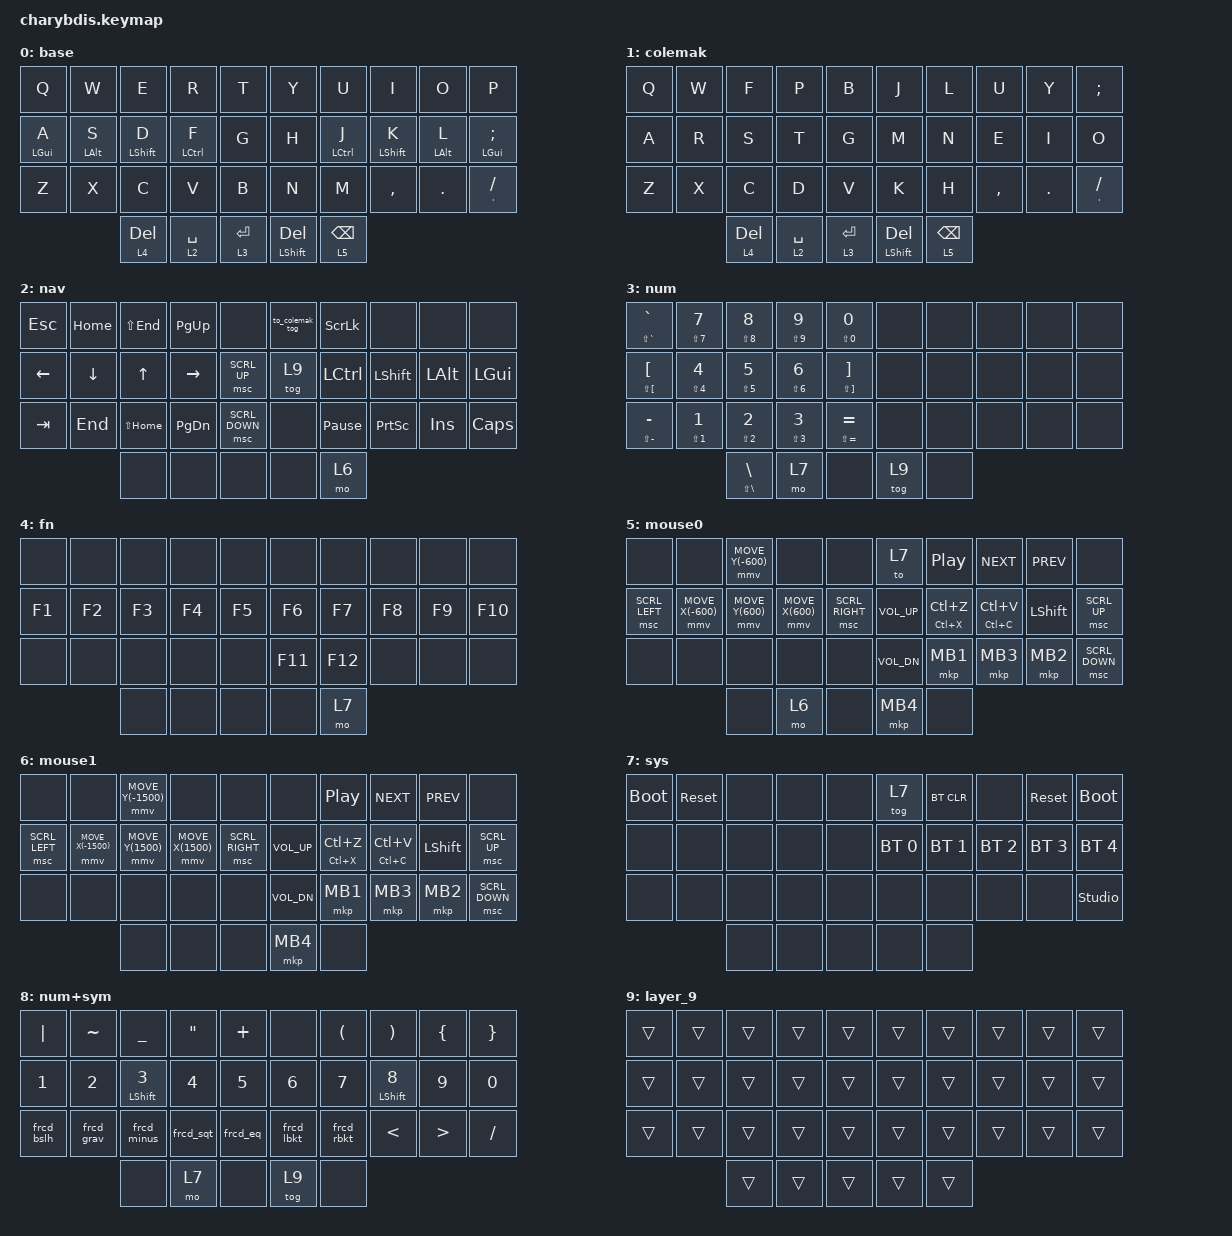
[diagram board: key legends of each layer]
#define ZMK_POINTING_DEFAULT_MOVE_VAL 1500  // 기본값: 600

#include <behaviors.dtsi>
#include <dt-bindings/zmk/bt.h>
#include <dt-bindings/zmk/keys.h>
#include <dt-bindings/zmk/pointing.h>

&lt {
    tapping-term-ms = <200>;
    flavor = "balanced";
    quick-tap-ms = <200>;
};

&mt { quick-tap-ms = <200>; };

&mmv {
    acceleration-exponent = <0>;
    delay-ms = <0>;
};

/ {
    combos {
        compatible = "zmk,combos";

        Language_Change_combo0 {
            bindings = <&kp RALT>;
            key-positions = <11 13>;
            layers = <0 1>;
        };

        Language_Change_combo1 {
            bindings = <&kp RALT>;
            key-positions = <16 18>;
            layers = <0 1>;
        };
    };

    macros {
        to_colemak_tog: to_colemak_tog {
            compatible = "zmk,behavior-macro";
            #binding-cells = <0>;
            bindings = <&kp RALT &tog 1>;
        };
    };

    behaviors {
        ht_sft: hold_tap_shift {
            compatible = "zmk,behavior-hold-tap";
            label = "HOLD_TAP_SHIFT";
            bindings = <&kp>, <&kp>;

            #binding-cells = <2>;
            tapping-term-ms = <200>;
            quick-tap-ms = <200>;
            require-prior-idle-ms = <130>;
            flavor = "tap-preferred";
        };

        hrm_l: home_row_mod_left {
            compatible = "zmk,behavior-hold-tap";
            #binding-cells = <2>;
            flavor = "balanced";
            tapping-term-ms = <280>;
            quick-tap-ms = <175>;
            require-prior-idle-ms = <170>;
            bindings = <&kp>, <&kp>;

            hold-trigger-key-positions = <5 6 7 8 9 15 16 17 18 19 25 26 27 28 29 33 34>;
            hold-trigger-on-release;
            label = "home_row_mod_left";
        };

        hrm_r: home_row_mod_right {
            compatible = "zmk,behavior-hold-tap";
            #binding-cells = <2>;
            flavor = "balanced";
            tapping-term-ms = <280>;
            quick-tap-ms = <175>;
            require-prior-idle-ms = <170>;
            bindings = <&kp>, <&kp>;

            hold-trigger-key-positions = <0 1 2 3 4 10 11 12 13 14 20 21 22 23 24 30 31 32>;
            hold-trigger-on-release;
            label = "home_row_mod_right";
        };

        frcd_eq: forced_equal {
            compatible = "zmk,behavior-mod-morph";
            #binding-cells = <0>;
            bindings = <&kp EQUAL>, <&kp EQUAL>;

            mods = <(MOD_LSFT|MOD_RSFT)>;
            label = "FORCED_EQUAL";
        };

        frcd_bslh: forced_backslash {
            compatible = "zmk,behavior-mod-morph";
            #binding-cells = <0>;
            bindings = <&kp BSLH>, <&kp BSLH>;

            mods = <(MOD_LSFT|MOD_RSFT)>;
            label = "FORCED_BSLH";
        };

        frcd_grav: forced_grave {
            compatible = "zmk,behavior-mod-morph";
            #binding-cells = <0>;
            bindings = <&kp GRAVE>, <&kp GRAVE>;

            mods = <(MOD_LSFT|MOD_RSFT)>;
            label = "FORCED_GRAVE";
        };

        frcd_minus: forced_minus {
            compatible = "zmk,behavior-mod-morph";
            #binding-cells = <0>;
            bindings = <&kp MINUS>, <&kp MINUS>;

            mods = <(MOD_LSFT|MOD_RSFT)>;
            label = "FORCED_MINUS";
        };

        frcd_sqt: forced_single_quote {
            compatible = "zmk,behavior-mod-morph";
            #binding-cells = <0>;
            bindings = <&kp SQT>, <&kp SQT>;

            mods = <(MOD_LSFT|MOD_RSFT)>;
            label = "FORCED_SQT";
        };

        frcd_lbkt: forced_left_bracket {
            compatible = "zmk,behavior-mod-morph";
            #binding-cells = <0>;
            bindings = <&kp LBKT>, <&kp LBKT>;

            mods = <(MOD_LSFT|MOD_RSFT)>;
            label = "FORCED_LBKT";
        };

        frcd_rbkt: forced_right_bracket {
            compatible = "zmk,behavior-mod-morph";
            #binding-cells = <0>;
            bindings = <&kp RBKT>, <&kp RBKT>;

            mods = <(MOD_LSFT|MOD_RSFT)>;
            label = "FORCED_RBKT";
        };

        hrm_r_sft: home_row_mod_shift {
            compatible = "zmk,behavior-hold-tap";
            #binding-cells = <2>;
            flavor = "balanced";
            tapping-term-ms = <280>;
            quick-tap-ms = <175>;
            bindings = <&kp>, <&kp>;

            hold-trigger-key-positions = <0 1 2 3 4 10 11 12 13 14 20 21 22 23 24 32 31 5 6 7 8 9 15 16 17 18 19 25 26 27 28 29>;
            label = "HOME_ROW_MOD_SHIFT";
        };
    };

    keymap {
        compatible = "zmk,keymap";

        base {
            bindings = <
&kp Q          &kp W          &kp E           &kp R           &kp T          &kp Y          &kp U           &kp I           &kp O          &kp P
&hrm_l LGUI A  &hrm_l LALT S  &hrm_l LSHFT D  &hrm_l LCTRL F  &kp G          &kp H          &hrm_r LCTRL J  &hrm_r LSHFT K  &hrm_r LALT L  &hrm_r LGUI SEMICOLON
&kp Z          &kp X          &kp C           &kp V           &kp B          &kp N          &kp M           &kp COMMA       &kp DOT        &mt SINGLE_QUOTE FSLH
                              &lt 4 DEL       &lt 2 SPACE     &lt 3 ENTER    &mt LSHFT DEL  &lt 5 BSPC
            >;
        };

        colemak {
            bindings = <
&kp Q  &kp W  &kp F      &kp P        &kp B          &kp J          &kp L       &kp U      &kp Y    &kp SEMI
&kp A  &kp R  &kp S      &kp T        &kp G          &kp M          &kp N       &kp E      &kp I    &kp O
&kp Z  &kp X  &kp C      &kp D        &kp V          &kp K          &kp H       &kp COMMA  &kp DOT  &mt SQT FSLH
              &lt 4 DEL  &lt 2 SPACE  &lt 3 ENTER    &mt LSHFT DEL  &lt 5 BSPC
            >;
        };

        nav {
            bindings = <
&kp ESC         &kp HOME        &kp LS(END)   &kp PAGE_UP      &none             &to_colemak_tog  &kp SLCK         &none      &none     &none
&kp LEFT_ARROW  &kp DOWN_ARROW  &kp UP_ARROW  &kp RIGHT_ARROW  &msc SCRL_UP      &tog 9           &kp LCTRL        &kp LSHFT  &kp LALT  &kp LGUI
&kp TAB         &kp END         &kp LS(HOME)  &kp PAGE_DOWN    &msc SCRL_DOWN    &none            &kp PAUSE_BREAK  &kp PSCRN  &kp INS   &kp CAPS
                                &none         &none            &none             &none            &mo 6
            >;
        };

        num {
            bindings = <
&ht_sft LS(GRAVE) GRAVE                &ht_sft LS(N7) N7  &ht_sft LS(N8) N8      &ht_sft LS(N9) N9  &ht_sft LS(N0) N0                          &none   &none  &none  &none  &none
&ht_sft LS(LEFT_BRACKET) LEFT_BRACKET  &ht_sft LS(N4) N4  &ht_sft LS(N5) N5      &ht_sft LS(N6) N6  &ht_sft LS(RIGHT_BRACKET) RIGHT_BRACKET    &none   &none  &none  &none  &none
&ht_sft LS(MINUS) MINUS                &ht_sft LS(N1) N1  &ht_sft LS(N2) N2      &ht_sft LS(N3) N3  &ht_sft LS(EQUAL) EQUAL                    &none   &none  &none  &none  &none
                                                          &ht_sft LS(BSLH) BSLH  &mo 7              &none                                      &tog 9  &none
            >;
        };

        fn {
            bindings = <
&none   &none   &none   &none   &none     &none    &none    &none   &none   &none
&kp F1  &kp F2  &kp F3  &kp F4  &kp F5    &kp F6   &kp F7   &kp F8  &kp F9  &kp F10
&none   &none   &none   &none   &none     &kp F11  &kp F12  &none   &none   &none
                &none   &none   &none     &none    &mo 7
            >;
        };

        mouse0 {
            bindings = <
&none           &none              &mmv MOVE_Y(-600)  &none             &none              &to 7         &kp C_PLAY_PAUSE  &kp C_NEXT       &kp C_PREV  &none
&msc SCRL_LEFT  &mmv MOVE_X(-600)  &mmv MOVE_Y(600)   &mmv MOVE_X(600)  &msc SCRL_RIGHT    &kp C_VOL_UP  &mt LC(X) LC(Z)   &mt LC(C) LC(V)  &kp LSHFT   &msc SCRL_UP
&none           &none              &none              &none             &none              &kp C_VOL_DN  &mkp MB1          &mkp MB3         &mkp MB2    &msc SCRL_DOWN
                                   &none              &mo 6             &none              &mkp MB4      &none
            >;
        };

        mouse1 {
            bindings = <
&none           &none               &mmv MOVE_Y(-1500)  &none              &none              &none         &kp C_PLAY_PAUSE  &kp C_NEXT       &kp C_PREV  &none
&msc SCRL_LEFT  &mmv MOVE_X(-1500)  &mmv MOVE_Y(1500)   &mmv MOVE_X(1500)  &msc SCRL_RIGHT    &kp C_VOL_UP  &mt LC(X) LC(Z)   &mt LC(C) LC(V)  &kp LSHFT   &msc SCRL_UP
&none           &none               &none               &none              &none              &kp C_VOL_DN  &mkp MB1          &mkp MB3         &mkp MB2    &msc SCRL_DOWN
                                    &none               &none              &none              &mkp MB4      &none
            >;
        };

        sys {
            bindings = <
&bootloader  &sys_reset  &none  &none  &none    &tog 7        &bt BT_CLR    &none         &sys_reset    &bootloader
&none        &none       &none  &none  &none    &bt BT_SEL 0  &bt BT_SEL 1  &bt BT_SEL 2  &bt BT_SEL 3  &bt BT_SEL 4
&none        &none       &none  &none  &none    &none         &none         &none         &none         &studio_unlock
                         &none  &none  &none    &none         &none
            >;
        };

        num+sym {
            bindings = <
&kp PIPE    &kp TILDE   &kp UNDER        &kp DQT    &kp PLUS    &none       &kp LPAR    &kp RPAR         &kp LBRC  &kp RBRC
&kp N1      &kp N2      &hrm_l LSHFT N3  &kp N4     &kp N5      &kp N6      &kp N7      &hrm_r LSHFT N8  &kp N9    &kp N0
&frcd_bslh  &frcd_grav  &frcd_minus      &frcd_sqt  &frcd_eq    &frcd_lbkt  &frcd_rbkt  &kp LT           &kp GT    &kp FSLH
                        &none            &mo 7      &none       &tog 9      &none
            >;
        };

        layer_9 {
            bindings = <
&trans  &trans  &trans  &trans  &trans    &trans  &trans  &trans  &trans  &trans
&trans  &trans  &trans  &trans  &trans    &trans  &trans  &trans  &trans  &trans
&trans  &trans  &trans  &trans  &trans    &trans  &trans  &trans  &trans  &trans
                &trans  &trans  &trans    &trans  &trans
            >;
        };

        /* layer_2 {
            bindings = <
&none  &none   &none    &none   &none         &none         &kp N1         &none         &none     &none  &none   &to 0
&none  &none   &none    &none   &none         &none         &none         &none          &rgb_ug RGB_BRD &rgb_ug RGB_BRI  &rgb_ug RGB_EFF   &rgb_ug RGB_TOG
&none  &none   &none    &none   &none         &none         &none         &mkp LCLK     &mkp RCLK  &none  &none   &none
&none  &none   &none    &none   &bt BT_NXT  &bt BT_CLR    &none         &none         &none     &none  &none   &none
                                   &none         &none         &none         &none         &none
                                                 &none         &none         &none
            >;
       
            
        };

       Mouse {
            bindings = <
&none        &none         &none         &none         &none      &none         &none       &none      &none         &none         &none         &none
&none        &bt BT_SEL 0  &bt BT_SEL 1  &bt BT_SEL 3  &none      &bt BT_CLR    &bt BT_CLR  &none      &bt BT_SEL 2  &bt BT_SEL 1  &bt BT_SEL 0  &none
&none        &trans        &trans        &mkp MCLK     &trans     &none         &none       &trans     &mkp MCLK     &trans        &trans        &none
&bootloader  &trans        &mkp RCLK     &mo 4         &mkp LCLK  &mo 5         &mo 5       &mkp LCLK  &mo 4         &mkp RCLK     &trans        &bootloader
                                         &mo 5         &mkp LCLK  &mkp RCLK     &mkp RCLK   &mkp LCLK
                                                       &none      &trans        &trans
            >;

            
        };

        layer_4 {
            bindings = <
&trans  &trans  &trans     &trans     &trans     &trans       &trans     &trans     &trans     &trans     &trans  &trans
&trans  &trans  &trans     &trans     &trans     &trans       &trans     &trans     &trans     &trans     &trans  &trans
&trans  &trans  &trans     &mkp MCLK  &trans     &trans       &trans     &trans     &mkp MCLK  &trans     &trans  &trans
&trans  &trans  &mkp RCLK  &trans     &mkp LCLK  &trans       &trans     &mkp LCLK  &trans     &mkp RCLK  &trans  &trans
                           &trans     &mkp LCLK  &mkp RCLK    &mkp RCLK  &mkp LCLK
                                      &trans     &trans       &trans
            >;
                
                
               
        };

        layer_5 {
            bindings = <
&trans  &trans  &trans     &trans     &trans     &trans       &trans     &trans     &trans     &trans     &trans  &trans
&trans  &trans  &trans     &trans     &trans     &trans       &trans     &trans     &trans     &trans     &trans  &trans
&trans  &trans  &trans     &mkp MCLK  &trans     &trans       &trans     &trans     &mkp MCLK  &trans     &trans  &trans
&trans  &trans  &mkp RCLK  &trans     &mkp LCLK  &trans       &trans     &mkp LCLK  &trans     &mkp RCLK  &trans  &trans
                           &trans     &mkp LCLK  &mkp RCLK    &mkp RCLK  &mkp LCLK
                                      &trans     &trans       &trans
            >;
                
                
        };*/
    };

    conditional_layers {
        compatible = "zmk,conditional-layers";

        tog_num+sym {
            if-layers = <3 9>;
            then-layer = <8>;
        };
    };
};
